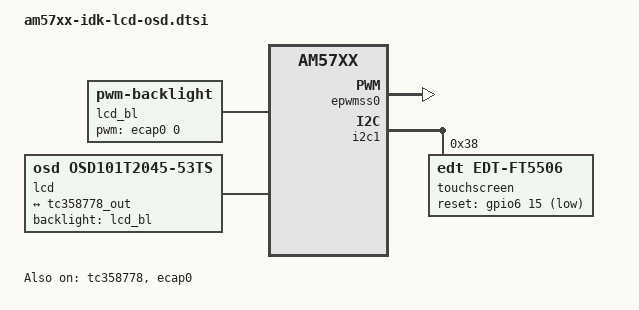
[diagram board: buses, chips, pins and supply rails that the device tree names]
/*
 * Copyright (C) 2015 Texas Instruments Incorporated - http://www.ti.com/
 *
 * This program is free software; you can redistribute it and/or modify
 * it under the terms of the GNU General Public License version 2 as
 * published by the Free Software Foundation.
 */

/ {
	aliases {
		display0 = &lcd;
		display1 = &hdmi0;
	};

	lcd_bl: backlight {
		compatible = "pwm-backlight";
		pwms = <&ecap0 0 50000 1>;
		brightness-levels = <0 51 53 56 62 75 101 152 255>;
		default-brightness-level = <8>;
	};

	lcd: display {
		/*
		 * TODO: Not a DPI panel, but a dummy DSI video mode panel.
		 * This needs to be changed later when we can support DSI VM
		 * panels properly.
		 */
		compatible = "osd,osd101t2045-53ts", "panel-dpi";

		backlight = <&lcd_bl>;

		label = "lcd";

		panel-timing {
			clock-frequency = <154000000>;
			hactive = <1920>;
			vactive = <1200>;

			hfront-porch = <112>;
			hback-porch = <32>;
			hsync-len = <16>;

			vfront-porch = <16>;
			vback-porch = <16>;
			vsync-len = <2>;

			hsync-active = <0>;
			vsync-active = <0>;
			de-active = <1>;
			pixelclk-active = <1>;
		};

		port {
			lcd_in: endpoint {
				remote-endpoint = <&tc358778_out>;
			};
		};
	};
};

&tc358778 {
	status = "okay";
};

&tc358778_out {
	remote-endpoint = <&lcd_in>;
	lanes = <0 1 2 3 4 5 6 7 8 9>;
};

&epwmss0 {
	status = "okay";
};

&ecap0 {
	status = "okay";
};

&i2c1 {
	touchscreen: edt-ft5506@38 {
		status = "okay";
		compatible = "edt,edt-ft5506", "edt,edt-ft5x06";

		reg = <0x38>;

		reset-gpios = <&gpio6 15 GPIO_ACTIVE_LOW>;

		touchscreen-size-x = <1920>;
		touchscreen-size-y = <1200>;
	};
};
